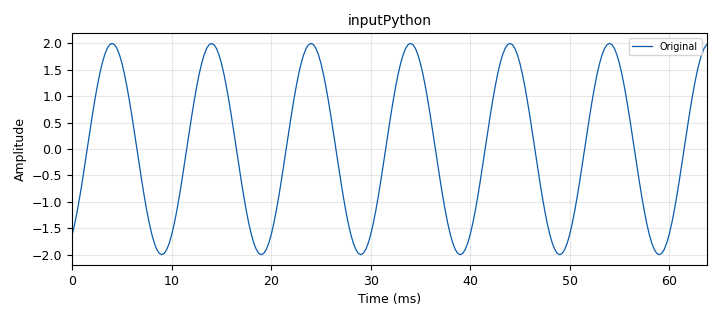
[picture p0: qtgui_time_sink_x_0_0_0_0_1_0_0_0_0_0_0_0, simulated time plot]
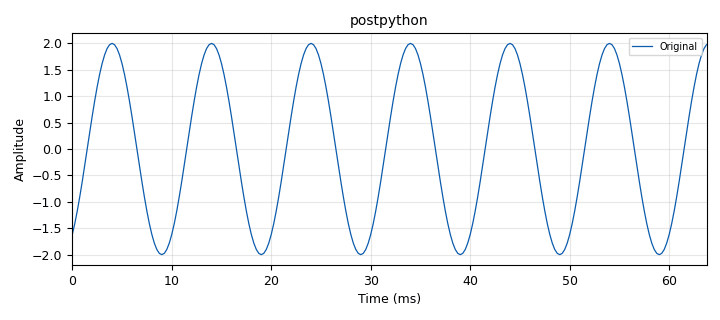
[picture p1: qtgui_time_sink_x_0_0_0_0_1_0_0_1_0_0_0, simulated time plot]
options:
  parameters:
    author: JI
    comment: |-
      Some very usefull links:

      -ePy-message block, paser:
      https://wiki.gnuradio.org/index.php/Message_Passing
      -ePy-message block message creation:
      https://wiki.gnuradio.org/index.php/Embedded_Python_Block
    generate_options: qt_gui
    id: MSG_Debugging
    output_language: python
    title: MSG-Debugging
  states: {}

blocks:
- name: amplitude_range
  id: variable_qtgui_range
  parameters:
    label: Amplitude
    orient: Qt.Horizontal
    rangeType: int
    start: '0'
    step: '1'
    stop: '20'
    value: '2'
  states: {}
- name: fileOut_selector
  id: variable_qtgui_chooser
  parameters:
    gui_hint: 'qt_gui_tabs@0: 2,0'
    label: Enable file writing
    label0: Enable
    label1: Disable
    labels: '[''disabled'', ''enabled'']'
    num_opts: '2'
    option0: '0'
    option1: '1'
    options: '[1, 0]'
    type: int
    value: '0'
  states: {state: disabled}
- name: fileOut_selector_0
  id: variable_qtgui_chooser
  parameters:
    gui_hint: 'qt_gui_tabs@1: 3,0'
    label: Enable file writing
    label0: Enable
    label1: Disable
    labels: '[''disabled'', ''enabled'']'
    num_opts: '2'
    option0: '0'
    option1: '1'
    options: '[1, 0]'
    type: int
    value: '1'
  states: {state: disabled}
- name: index_for_debugging
  id: variable_qtgui_range
  parameters:
    label: Index of input
    orient: Qt.Horizontal
    start: '0'
    step: '1'
    stop: '1000'
    value: '0'
  states: {}
- name: numPoints
  id: variable
  parameters:
    value: int(1024/4)
  states: {}
- name: samp_rate
  id: variable
  parameters:
    value: 32000/8
  states: {}
- name: analog_sig_source_x_0_0_0_0_0_0_0
  id: analog_sig_source_x
  parameters:
    amp: amplitude_range
    freq: '100'
    offset: '0'
    phase: '0'
    samp_rate: samp_rate
    type: float
    waveform: analog.GR_COS_WAVE
  states: {}
- name: blocks_file_sink_0
  id: blocks_file_sink
  parameters:
    append: 'True'
    comment: This represents a (debug)message to file
    file: file_out.txt
    type: byte
    unbuffered: 'True'
  states: {state: disabled}
- name: blocks_file_sink_0_0
  id: blocks_file_sink
  parameters:
    append: 'True'
    comment: This represents a (debug)message to file
    file: msg_and_file_out.txt
    type: byte
    unbuffered: 'True'
  states: {state: disabled}
- name: blocks_null_sink_0
  id: blocks_null_sink
  parameters:
    type: complex
  states: {}
- name: blocks_null_sink_0_1
  id: blocks_null_sink
  parameters:
    type: byte
  states: {state: disabled}
- name: blocks_null_sink_0_1_0
  id: blocks_null_sink
  parameters:
    type: byte
  states: {state: disabled}
- name: blocks_null_sink_1
  id: blocks_null_sink
  parameters:
    type: float
  states: {state: disabled}
- name: blocks_null_source_0
  id: blocks_null_source
  parameters:
    type: complex
  states: {}
- name: blocks_selector_0
  id: blocks_selector
  parameters:
    enabled: 'True'
    input_index: '0'
    num_inputs: '1'
    num_outputs: '2'
    output_index: fileOut_selector
    type: byte
  states: {state: disabled}
- name: blocks_selector_0_0
  id: blocks_selector
  parameters:
    enabled: 'True'
    input_index: '0'
    num_inputs: '1'
    num_outputs: '2'
    output_index: fileOut_selector
    type: byte
  states: {state: disabled}
- name: blocks_throttle_0
  id: blocks_throttle
  parameters:
    samples_per_second: samp_rate
    type: byte
  states: {state: disabled}
- name: blocks_throttle_0_0
  id: blocks_throttle
  parameters:
    samples_per_second: samp_rate
    type: byte
  states: {state: disabled}
- name: blocks_throttle_1
  id: blocks_throttle
  parameters:
    samples_per_second: samp_rate
    type: complex
  states: {}
- name: blocks_vector_source_x_0
  id: blocks_vector_source_x
  parameters:
    repeat: 'True'
    type: float
    vector: (0.1, 0.3, 4,12)
  states: {}
- name: epy_block_0
  id: epy_block
  parameters:
    _source_code: |
      """
      Embedded Python Blocks:

      Each time this file is saved, GRC will instantiate the first class it finds
      to get ports and parameters of your block. The arguments to __init__  will
      be the parameters. All of them are required to have default values!


      This block specifically is based on the grc-"embeded python block"-tutorial founde here:
      https://wiki.gnuradio.org/index.php/Embedded_Python_Block


      It is used to convert a message from a gui-edit-message-block to a byte string
      (that can the be written to a file)  -> see the picture in this folder for details


      some more details on the polymorphic Types can be found here :
      https://wiki.gnuradio.org/index.php/Polymorphic_Types_(PMTs)
      """

      import numpy as np
      from gnuradio import gr
      import pmt

      textboxValue = ""


      class blk(gr.sync_block):  # other base classes are basic_block, decim_block, interp_block
          """Embedded Python Block example - a simple multiply const"""

          """
              reads input from a message port
              outputs text
          """
          def __init__(self, example_param = 2):
              gr.sync_block.__init__(self,
                  name = "Embedded Python demo",
                  in_sig = None,
                  out_sig = [np.byte])

              # register message ports
              self.message_port_register_in(pmt.intern('msg_in'))
              self.message_port_register_out(pmt.intern('clear_input'))
              self.set_msg_handler(pmt.intern('msg_in'), self.handle_msg) # this basically assigns the msg-handler

              # assing input parameters
              self.example_param = example_param


          def handle_msg(self, msg):
              global textboxValue

              textboxValue = pmt.symbol_to_string (msg)
              # print (textboxValue)

              # String to output
              # pmt_test = pmt.string_to_symbol("Test")    # convert string to pmt (polymorphic type)

              # publish pmt-message over a port
              # self.message_port_pub(pmt.intern('clear_input'), pmt_test )
              # self.message_port_pub(pmt.intern('clear_input'), pmt.intern('')) # send '' to the clear_input-port (the output of our system)

              print (textboxValue)


          def work(self, input_items, output_items):
              global textboxValue

              # get length of string
              _len = len(textboxValue)
              if (_len > 0):
                  # terminate with LF
                  textboxValue += "\n"
                  _len += 1
                  # store elements in output array
                  for x in range(_len):
                      output_items[0][x] = ord(textboxValue[x])
                      
                  textboxValue = ""
                  self.message_port_pub(pmt.intern('clear_input'), pmt.intern(''))
                  return (_len)
              else:
                  return (0)
    comment: |-
      This block is based on the following tutorial:
      https://wiki.gnuradio.org/index.php/Embedded_Python_Block

      It is used as a piece of proto-code to create "debug-messages" 
      that is then represented in the QT-based GRC Message block
    example_param: '2'
  states: {state: disabled}
- name: epy_block_0_0
  id: epy_block
  parameters:
    _source_code: |
      """
      Embedded Python Blocks:

      Each time this file is saved, GRC will instantiate the first class it finds
      to get ports and parameters of your block. The arguments to __init__  will
      be the parameters. All of them are required to have default values!
      """

      import numpy as np
      from gnuradio import gr

      import pmt
      from datetime import datetime  # needed for some message testing


      class blk(gr.sync_block):  # other base classes are basic_block, decim_block, interp_block
          """Embedded Python Block example - a simple message passer"""

          def __init__(self, input_dim = 1, index= 10 ):  # only default arguments here
              """arguments to this function show up as parameters in GRC"""
              gr.sync_block.__init__(
                  self,
                  name='ePy byte to message-passer-block',   # will show up in GRC
                  in_sig  = [ np.single , np.single],#  [ (np.single, input_dim ) ],
                  out_sig = [ np.single ]  # no output apart from the message-out
              )
              # Create output port
              self.message_port_register_out(pmt.intern('pmt_msg_out'))  # create a message out port
              self.index = index

          def work(self, input_items, output_items):
              """example: message passing in GRC"""

          #--create msg from string
              str_shape_value = str( len(input_items[0]) )# .shape )
              #prot_var_str_msg = pmt.intern ( str_shape_value )           #This seems to work for all types
              #proto_const_str_msg = pmt.string_to_symbol( '65535 +4 ' )   # This is string specific

          #--Message from real numbers
              integer_value = max(input_items[0]) # get index -> #max (input_items[0]) )
              #proto_long_msg =  pmt.intern( str( integer_value ) )         #for some reason, we can not directly display the info -> typcast to str.  | alternative:  long_msg =  pmt.from_long( integer_value ) #max (input_items[0]) )

              float_value = 1.7
              #proto_float_msg =  pmt.intern( str( float_value) ) #max (input_items[0]) )


          #--interacting with complex numbers in messages
              complex_num = 1j
              # complex_msg = pmt.from_complex(1j) #create a complex pmt  -> type(P2) = pmt.pmt_swig.swig_int_ptr
              # bool_complex = complex_msg.is_complex(P2) # check if message is complex
              #is_comp_messag =  pmt.intern( bool_complex )

          #--other types
              #P_true = pmt.PMT_T
              #P_false = pmt.PMT_F
              #P_nil = pmt.PMT_NIL

          #--Message from arrays (in this case our input )
              array = [42, 23, 23, 23, 223]
              arrayIn = input_items[1]


              filename = "/Applications/GNURadio-comp/projects/debug_test.txt"
              #gr.logger_config(filename, watch_period)  # Configures the logger with conf file filename
              #names = gr.logger_get_names()  # Returns the names of all loggers
              #gr.logger_reset_config()   # Resets logger config by removing all appenders

              #log=gr.logger("nameOfLogger")
              #log.debug("Log a debug message")
              #log.set_level("INFO")


              #for element in range( len(arrayIn) ):
              #    message = pmt.intern( str(element) )
              #    self.message_port_pub(pmt.intern('pmt_msg_out'),  message )


              #array= input_items[0][ 2:5 ]  #real world array

              #type_msg = pmt.intern( str( type(array) )) # conversion to str works  #array_msg = pmt.to_pmt([42, 23, 23, 23, 23]) #sample from the official website -> not working
              #array_msg = pmt.intern (str(array)) # conversion of a real input array

              #max_value = np.max(input_items[0])  index_max_value =  np.argmax(input_items[0]) len_value = len( input_items[0] )   dim= ( input_items[0]).shape

          #--Time stamp testing
              now = datetime.now()
              current_time = now.strftime("%H:%M:%S.%fZ")[:-6]  # warning if you go with higher time resolution than "-3", th programm crashes imidiatly
              time_msg =  pmt.intern(current_time)

          #--Combination of different file type to a pmt-string-message
              #packed_msg= pmt.intern("Val: %s, Shape: %s [TS: %s]" %(str(array), str_shape_value, current_time) ) # + str(integer_value) + str(float_value) ) # str( type(input_items[0][:]) )
              packed_msg= pmt.intern("Shape:%s_TS:%s_%s" %( str(len(array) ) , current_time, str(arrayIn) ) ) # + str(integer_value) + str(float_value) ) # str( type(input_items[0][:]) )



          #--Send cyclic info on the input out via the msg-port
              self.message_port_pub(pmt.intern('pmt_msg_out'),  packed_msg ) # looks like we can only print a pmt-STRING-message

              output_items[0][:] = input_items[0] * 1# create output from inptu

              return len(output_items[0])

          def quitting():
              print("I lived and now i die!!!")
    index: index_for_debugging
    input_dim: '1'
  states: {}
- name: epy_block_0_0_0
  id: epy_block
  parameters:
    _source_code: |
      """
      Embedded Python Blocks:

      Each time this file is saved, GRC will instantiate the first class it finds
      to get ports and parameters of your block. The arguments to __init__  will
      be the parameters. All of them are required to have default values!


      This python block represents pmt-message creation from different data-Types
      by using pmt-to-string and string-to-pmt casts

      That for it mainly plays with the PMT-data type on which more can be found here :
      https://wiki.gnuradio.org/index.php/Polymorphic_Types_(PMTs)


      """

      import numpy as np
      from gnuradio import gr
      import pmt

      textboxValue = ""


      class blk(gr.sync_block):  # other base classes are basic_block, decim_block, interp_block
          """Embedded Python Block example - pmt forwardning """

          """
              reads input from a message port
              outputs text (cast from pmt to string)
                      and a message (cast back to pmt)
          """
          def __init__(self, example_param = 2):
              gr.sync_block.__init__(self,
                  name = "message conversion demo",
                  in_sig = None, # [np.single], #byte, single or complex64
                  out_sig = [np.byte])

              # register message ports
              self.message_port_register_in(pmt.intern('msg_in'))
              self.message_port_register_out(pmt.intern('clear_input'))  # this port only sends '' when a message is recieved, interacting with the text box block
              self.message_port_register_out(pmt.intern('pmt_msg_out'))  # this represents our message out-port (format is pmt)

              # this basically assigns the msg-handler for the 'msg_in'-port
              self.set_msg_handler(pmt.intern('msg_in'), self.handle_msg)

              # assing input parameters
              self.example_param = example_param


          def handle_msg(self, msg):
              global textboxValue

              textboxValue = pmt.symbol_to_string (msg)
              print (textboxValue)
              print_out_str = 'message: '+ textboxValue
              print  ( print_out_str, '( original message:',  msg, ' -> converted to str:', textboxValue, ')' )
              # String to output
              #pmt_test = pmt.string_to_symbol("Test")                     # convert string to pmt (polymorphic type)
              #self.message_port_pub(pmt.intern('pmt_msg_out'), pmt_test ) # publish pmt-message over a port

              self.message_port_pub(pmt.intern('pmt_msg_out'),  msg )# pmt.intern(print_out_str) )# pmt.intern( 'message received! ')   )
              #check if pmt concatinating is possible via +



              # publish pmt-message over a port
              # self.message_port_pub(pmt.intern('clear_input'), pmt_test )
              # self.message_port_pub(pmt.intern('clear_input'), pmt.intern('')) # send '' to the clear_input-port (the output of our system)



              # Basic PMT info can be found here: https://wiki.gnuradio.org/index.php/Guided_Tutorial_Programming_Topics
              #P_tuple = pmt.to_pmt((1, 2, 3, 'spam', 'eggs'))
              #P_dict = pmt.to_pmt({'spam': 42, 'eggs': 23})



          def work(self, input_items, output_items):
              global textboxValue

              # get length of string
              _len = len(textboxValue)
              if (_len > 0):
                  # terminate with LF
                  textboxValue += "\n"
                  _len += 1
                  # store elements in output array
                  for x in range(_len):
                      output_items[0][x] = ord(textboxValue[x])
                  # print
                  textboxValue = ""
                  self.message_port_pub(pmt.intern('clear_input'), pmt.intern(''))
                  return (_len)
              else:
                  return (0)
    comment: |-
      This block is based on the following tutorial:
      https://wiki.gnuradio.org/index.php/Embedded_Python_Block

      It is used as a piece of proto-code to create "debug-messages" that is then
      represented in the QT-based GRC Message block
    example_param: '2'
  states: {state: disabled}
- name: epy_block_1
  id: epy_block
  parameters:
    _source_code: |
      """
      Embedded Python Blocks:

      Each time this file is saved, GRC will instantiate the first class it finds
      to get ports and parameters of your block. The arguments to __init__  will
      be the parameters. All of them are required to have default values!
      """

      import numpy as np
      from gnuradio import gr


      class blk(gr.sync_block):  # other base classes are basic_block, decim_block, interp_block
          """Embedded Python Block example - a simple multiply const"""

          def __init__(self, example_param=1.0):  # only default arguments here
              """arguments to this function show up as parameters in GRC"""
              gr.sync_block.__init__(
                  self,
                  name='Embedded Python Block',   # will show up in GRC
                  in_sig=[np.complex64],
                  out_sig=[np.complex64]
              )
              # if an attribute with the same name as a parameter is found,
              # a callback is registered (properties work, too).
              self.example_param = example_param

          def work(self, input_items, output_items):
              """example: multiply with constant"""
              output_items[0][:] = input_items[0] * self.example_param
              return len(output_items[0])
    example_param: ''
  states: {state: disabled}
- name: note_0
  id: note
  parameters:
    comment: This is simple file writing demo-> enable or disbale the write to file part
    note: Simple file writing
  states: {state: disabled}
- name: note_0_0_0
  id: note
  parameters:
    comment: This is simple file writing demo-> enable or disbale the write to file part
    note: Simple message creation via casting
  states: {}
- name: qt_gui_tabs
  id: qtgui_tab_widget
  parameters:
    gui_hint: 1,0
    label0: Simple debug to file
    label1: GUI- and file-debugging
    label2: Last but least
    num_tabs: '3'
  states: {}
- name: qtgui_edit_box_msg_0
  id: qtgui_edit_box_msg
  parameters:
    gui_hint: 0,0
    is_pair: 'False'
    label: Passed message demo
    type: string
  states: {}
- name: qtgui_edit_box_msg_0_0_0
  id: qtgui_edit_box_msg
  parameters:
    gui_hint: qt_gui_tabs@0:1,0
    is_pair: 'False'
    key: input
    label: Message to file (enable file interaction to save to files)
    type: string
  states: {state: disabled}
- name: qtgui_edit_box_msg_0_0_0_0_0
  id: qtgui_edit_box_msg
  parameters:
    gui_hint: qt_gui_tabs@1:1,0
    is_pair: 'False'
    key: input
    label: Input message  (\n enable file interaction to save to files)
    type: string
  states: {state: disabled}
- name: qtgui_edit_box_msg_0_0_0_0_0_0
  id: qtgui_edit_box_msg
  parameters:
    gui_hint: 'qt_gui_tabs@1: 2,0'
    is_pair: 'False'
    key: input
    label: recieved debug-output
    type: string
  states: {state: disabled}
- name: qtgui_edit_box_msg_0_0_0_0_0_0_0
  id: qtgui_edit_box_msg
  parameters:
    gui_hint: 'qt_gui_tabs@1: 4,0'
    is_pair: 'False'
    key: input
    label: recieved debug-output
    type: string
    value: Test Val
  states: {state: disabled}
- name: qtgui_time_sink_x_0_0_0_0_1_0_0_0_0_0_0_0
  id: qtgui_time_sink_x
  parameters:
    autoscale: 'True'
    gui_hint: qt_gui_tabs@2
    label1: Original
    name: inputPython
    size: numPoints
    srate: samp_rate
    type: float
    ymax: '25'
    ymin: '-25'
  states: {}
- name: qtgui_time_sink_x_0_0_0_0_1_0_0_1_0_0_0
  id: qtgui_time_sink_x
  parameters:
    autoscale: 'True'
    gui_hint: qt_gui_tabs@2
    label1: Original
    name: postpython
    size: numPoints
    srate: samp_rate
    type: float
  states: {}

connections:
- [analog_sig_source_x_0_0_0_0_0_0_0, '0', epy_block_0_0, '0']
- [analog_sig_source_x_0_0_0_0_0_0_0, '0', qtgui_time_sink_x_0_0_0_0_1_0_0_0_0_0_0_0, '0']
- [blocks_null_source_0, '0', blocks_throttle_1, '0']
- [blocks_selector_0, '0', blocks_file_sink_0, '0']
- [blocks_selector_0, '1', blocks_null_sink_0_1, '0']
- [blocks_selector_0_0, '0', blocks_file_sink_0_0, '0']
- [blocks_selector_0_0, '1', blocks_null_sink_0_1_0, '0']
- [blocks_throttle_0, '0', blocks_selector_0, '0']
- [blocks_throttle_0_0, '0', blocks_selector_0_0, '0']
- [blocks_throttle_1, '0', blocks_null_sink_0, '0']
- [blocks_vector_source_x_0, '0', epy_block_0_0, '1']
- [epy_block_0, '0', blocks_throttle_0, '0']
- [epy_block_0, clear_input, qtgui_edit_box_msg_0_0_0, val]
- [epy_block_0_0, '0', qtgui_time_sink_x_0_0_0_0_1_0_0_1_0_0_0, '0']
- [epy_block_0_0, pmt_msg_out, qtgui_edit_box_msg_0, val]
- [epy_block_0_0_0, '0', blocks_throttle_0_0, '0']
- [epy_block_0_0_0, clear_input, qtgui_edit_box_msg_0_0_0_0_0, val]
- [epy_block_0_0_0, clear_input, qtgui_edit_box_msg_0_0_0_0_0_0_0, val]
- [epy_block_0_0_0, pmt_msg_out, qtgui_edit_box_msg_0_0_0_0_0_0, val]
- [qtgui_edit_box_msg_0_0_0, msg, epy_block_0, msg_in]
- [qtgui_edit_box_msg_0_0_0_0_0, msg, epy_block_0_0_0, msg_in]

metadata:
  file_format: 1
